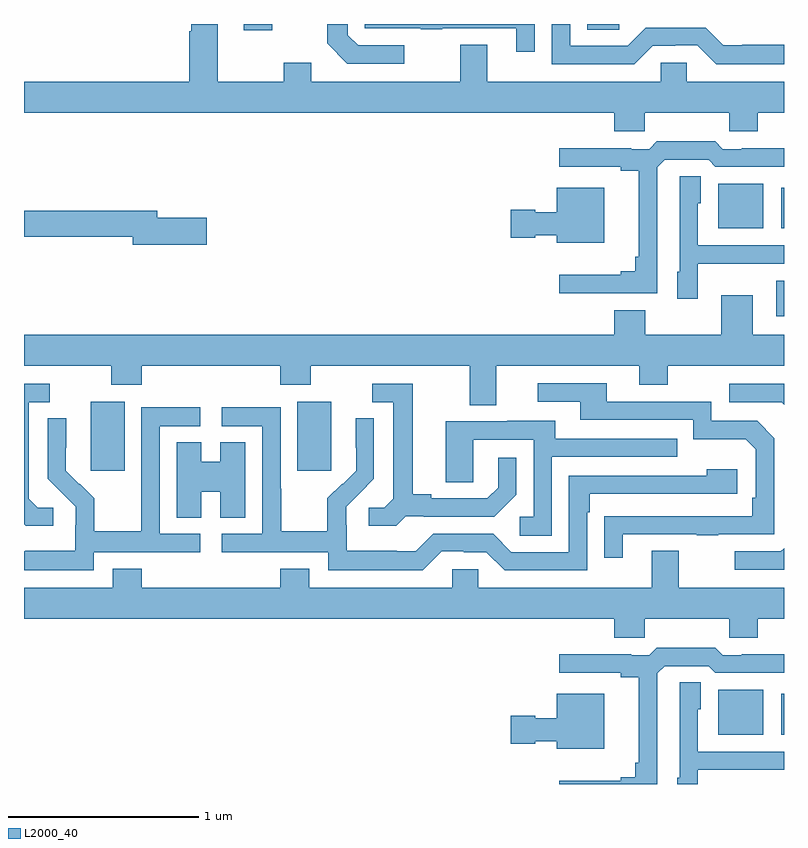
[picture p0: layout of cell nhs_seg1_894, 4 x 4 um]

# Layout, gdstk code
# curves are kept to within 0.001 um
import gdstk
lib = gdstk.Library(unit=1e-6, precision=1e-09)
def R(c, l, rs):  # rectangles x0, y0, x1, y1
    for r in rs: c.add(gdstk.rectangle(r[:2], r[2:], *l))
def P(c, l, *ps):  # polygons
    for p in ps: c.add(gdstk.Polygon(p, *l))
L2000_40 = (2000, 40)

nhs_seg1_894 = lib.new_cell('nhs_seg1_894')
R(nhs_seg1_894, L2000_40, [(162.653,548.459,162.892,548.695), (162.986,548.459,163,548.674), (159.35,549.849,159.529,550.21), (160.439,549.849,160.618,550.21), (162.959,550.662,163,550.848), (162.653,551.123,162.892,551.359), (162.986,551.123,163,551.338), (160.157,552.165,160.306,552.199), (161.964,552.169,162.133,552.199)])
P(nhs_seg1_894, L2000_40, [(161.002,552.087),(160.758,552.087),(160.704,552.141),(160.704,552.199),(160.596,552.199),(160.596,552.097),(160.701,551.991),(161.002,551.991)],
  [(162.267,551.732),(162.712,551.732),(162.712,551.634),(162.862,551.634),(162.862,551.732),(163,551.732),(163,551.896),(162.489,551.896),(162.489,551.994),(162.351,551.994),(162.351,551.896),(161.437,551.896),(161.437,552.091),(161.297,552.091),(161.297,551.896),(160.513,551.896),(160.513,551.995),(160.366,551.995),(160.366,551.896),(160.021,551.896),(160.021,552.199),(159.881,552.199),(159.881,552.161),(159.869,552.161),(159.869,551.896),(159,551.896),(159,551.732),(162.107,551.732),(162.107,551.634),(162.267,551.634)],
  [(161.687,552.199),(160.794,552.199),(160.794,552.177),(161.089,552.177),(161.089,552.172),(161.201,552.172),(161.201,552.177),(161.591,552.177),(161.591,552.054),(161.687,552.054)],
  [(163,552.091),(162.781,552.091),(162.781,552.087),(162.681,552.087),(162.588,552.18),(162.273,552.18),(162.177,552.084),(161.874,552.084),(161.874,552.199),(161.778,552.199),(161.778,551.988),(162.213,551.988),(162.309,552.084),(162.428,552.084),(162.428,552.087),(162.543,552.087),(162.643,551.987),(163,551.987)],
  [(162.333,551.445),(162.372,551.484),(162.603,551.484),(162.639,551.448),(163,551.448),(163,551.546),(162.778,551.546),(162.778,551.541),(162.678,551.541),(162.639,551.581),(162.331,551.581),(162.291,551.541),(162.197,551.541),(162.197,551.546),(161.817,551.546),(161.817,551.448),(162.14,551.448),(162.14,551.426),(162.236,551.426),(162.236,550.975),(162.217,550.975),(162.217,550.898),(162.14,550.898),(162.14,550.879),(161.817,550.879),(161.817,550.782),(162.333,550.782)],
  [(162.546,550.937),(162.863,550.937),(162.863,550.938),(163,550.938),(163,551.034),(162.546,551.034),(162.546,551.256),(162.562,551.256),(162.562,551.399),(162.45,551.399),(162.45,550.896),(162.437,550.896),(162.437,550.752),(162.546,550.752)],
  [(162.055,551.338),(161.804,551.338),(161.804,551.209),(161.691,551.209),(161.691,551.222),(161.562,551.222),(161.562,551.075),(161.691,551.075),(161.691,551.087),(161.804,551.087),(161.804,551.048),(162.055,551.048)],
  [(159.961,551.18),(159.7,551.18),(159.7,551.216),(159,551.216),(159,551.08),(159.572,551.08),(159.572,551.038),(159.961,551.038)],
  [(161.485,550.4),(162.239,550.4),(162.239,550.301),(162.387,550.301),(162.387,550.4),(163,550.4),(163,550.564),(162.835,550.564),(162.835,550.771),(162.671,550.771),(162.671,550.564),(162.271,550.564),(162.271,550.693),(162.107,550.693),(162.107,550.564),(159,550.564),(159,550.4),(159.46,550.4),(159.46,550.301),(159.62,550.301),(159.62,550.4),(160.349,550.4),(160.349,550.301),(160.509,550.301),(160.509,550.4),(161.345,550.4),(161.345,550.192),(161.485,550.192)],
  [(162.151,549.513),(162.541,549.513),(162.541,549.508),(162.653,549.508),(162.653,549.513),(162.948,549.513),(162.948,550.02),(162.858,550.11),(162.618,550.11),(162.618,550.212),(162.067,550.212),(162.067,550.308),(161.703,550.308),(161.703,550.212),(161.927,550.212),(161.927,550.116),(162.522,550.116),(162.522,550.013),(162.799,550.013),(162.852,549.96),(162.852,549.706),(162.832,549.706),(162.832,549.609),(162.055,549.608),(162.055,549.39),(162.151,549.39)],
  [(159.154,549.654),(159.072,549.654),(159.025,549.701),(159.025,550.209),(159.136,550.209),(159.136,550.305),(159,550.305),(159,549.567),(159.01,549.557),(159.154,549.557)],
  [(163,550.305),(162.711,550.305),(162.711,550.209),(162.987,550.209),(163,550.196)],
  [(161.01,549.609),(161.104,549.609),(161.104,549.606),(161.476,549.606),(161.592,549.722),(161.592,549.916),(161.495,549.916),(161.495,549.759),(161.438,549.702),(161.143,549.702),(161.143,549.725),(161.047,549.725),(161.047,550.305),(160.833,550.305),(160.833,550.209),(160.943,550.209),(160.943,549.701),(160.896,549.654),(160.815,549.654),(160.815,549.557),(160.958,549.557)],
  [(161.199,549.423),(161.315,549.423),(161.315,549.42),(161.433,549.42),(161.529,549.324),(161.964,549.324),(161.964,549.629),(161.977,549.629),(161.977,549.726),(162.754,549.726),(162.754,549.856),(162.593,549.856),(162.593,549.822),(161.868,549.822),(161.868,549.42),(161.565,549.42),(161.469,549.516),(161.154,549.516),(161.061,549.423),(160.961,549.423),(160.961,549.427),(160.698,549.427),(160.698,549.561),(160.696,549.561),(160.696,549.658),(160.842,549.806),(160.842,550.124),(160.746,550.124),(160.746,549.97),(160.748,549.97),(160.748,549.848),(160.677,549.777),(160.674,549.78),(160.597,549.703),(160.597,549.529),(160.353,549.529),(160.353,549.752),(160.35,549.752),(160.35,550.182),(160.041,550.182),(160.041,550.083),(160.254,550.083),(160.254,549.516),(160.041,549.516),(160.041,549.42),(160.602,549.42),(160.602,549.323),(161.099,549.323)],
  [(159.366,549.42),(159.928,549.42),(159.928,549.516),(159.714,549.516),(159.714,550.083),(159.928,550.083),(159.928,550.182),(159.618,550.182),(159.618,549.752),(159.616,549.752),(159.616,549.529),(159.371,549.529),(159.371,549.703),(159.294,549.78),(159.291,549.777),(159.221,549.848),(159.222,550.124),(159.126,550.124),(159.126,549.806),(159.272,549.658),(159.272,549.561),(159.27,549.561),(159.27,549.427),(159.007,549.427),(159.007,549.423),(159,549.423),(159,549.323),(159.366,549.323)],
  [(161.778,549.921),(162.437,549.921),(162.437,550.017),(161.797,550.017),(161.797,550.111),(161.543,550.111),(161.543,550.107),(161.219,550.107),(161.219,549.787),(161.364,549.787),(161.364,550.011),(161.682,550.011),(161.682,549.606),(161.61,549.606),(161.61,549.505),(161.778,549.505)],
  [(159.934,549.737),(160.034,549.737),(160.034,549.601),(160.165,549.601),(160.165,549.998),(160.034,549.998),(160.034,549.895),(159.934,549.895),(159.934,549.998),(159.803,549.998),(159.803,549.601),(159.934,549.601)],
  [(163,549.439),(162.984,549.423),(162.741,549.423),(162.741,549.327),(163,549.327)],
  [(161.391,549.33),(161.253,549.33),(161.253,549.232),(160.501,549.232),(160.501,549.331),(160.349,549.331),(160.349,549.232),(159.62,549.232),(159.62,549.331),(159.467,549.331),(159.467,549.232),(159,549.232),(159,549.068),(162.107,549.068),(162.107,548.97),(162.267,548.97),(162.267,549.068),(162.712,549.068),(162.712,548.97),(162.862,548.97),(162.862,549.068),(163,549.068),(163,549.232),(162.445,549.232),(162.445,549.427),(162.305,549.427),(162.305,549.232),(161.391,549.232)],
  [(162.333,548.781),(162.372,548.82),(162.603,548.82),(162.639,548.784),(163,548.784),(163,548.882),(162.778,548.882),(162.778,548.877),(162.678,548.877),(162.639,548.917),(162.331,548.917),(162.291,548.877),(162.197,548.877),(162.197,548.882),(161.817,548.882),(161.817,548.784),(162.14,548.784),(162.14,548.762),(162.236,548.762),(162.236,548.311),(162.217,548.311),(162.217,548.234),(162.14,548.234),(162.14,548.215),(161.817,548.215),(161.817,548.199),(162.333,548.199)],
  [(162.546,548.273),(162.863,548.273),(162.863,548.274),(163,548.274),(163,548.37),(162.546,548.37),(162.546,548.592),(162.562,548.592),(162.562,548.735),(162.45,548.735),(162.45,548.232),(162.437,548.232),(162.437,548.199),(162.546,548.199)],
  [(162.055,548.674),(161.804,548.674),(161.804,548.545),(161.691,548.545),(161.691,548.558),(161.562,548.558),(161.562,548.411),(161.691,548.411),(161.691,548.423),(161.804,548.423),(161.804,548.384),(162.055,548.384)])

lib.write_gds('nhs_seg1_894.gds')
